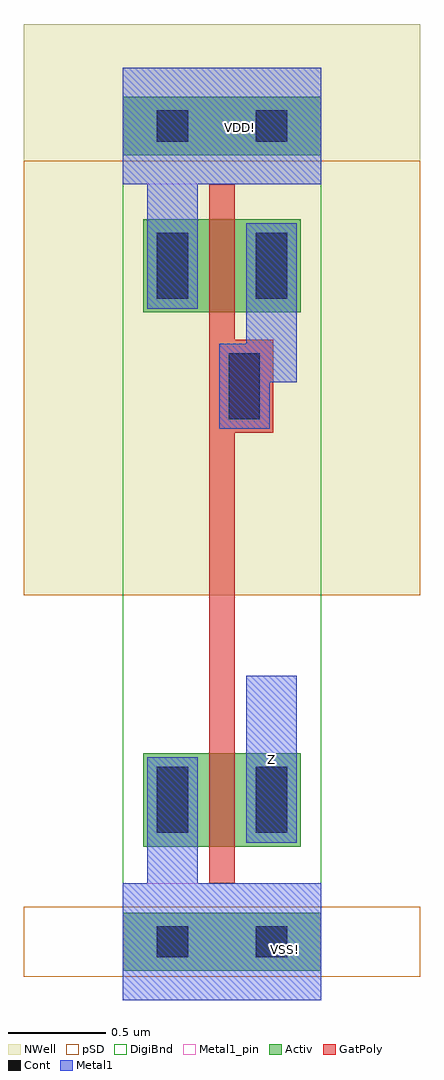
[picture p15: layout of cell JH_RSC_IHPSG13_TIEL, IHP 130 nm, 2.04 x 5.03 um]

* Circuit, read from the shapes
.subckt JH_RSC_IHPSG13_TIEL VDD! VSS! Z
XM1 Z n1 VSS! VSS! sg13_lv_nmos w=0.48u l=0.13u
XM2 n1 n1 VDD! VDD! sg13_lv_pmos w=0.48u l=0.13u
.ends

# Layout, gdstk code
import gdstk
lib = gdstk.Library(unit=1e-6, precision=1e-09)
def R(c, l, rs):  # rectangles x0, y0, x1, y1
    for r in rs: c.add(gdstk.rectangle(r[:2], r[2:], *l))
def P(c, l, *ps):  # polygons
    for p in ps: c.add(gdstk.Polygon(p, *l))
Activ = (1, 0)
GatPoly = (5, 0)
Cont = (6, 0)
Metal1 = (8, 0)
Metal1_pin = (8, 2)
pSD = (14, 0)
DigiBnd = (16, 0)
NWell = (31, 0)

jh_rsc_ihpsg13_tiel = lib.new_cell('JH_RSC_IHPSG13_TIEL')
R(jh_rsc_ihpsg13_tiel, Activ, [(0,-0.15,1.02,0.15), (0.105,0.49,0.915,0.97), (0.105,3.24,0.915,3.72), (0,4.05,1.02,4.35)])
P(jh_rsc_ihpsg13_tiel, GatPoly, [(0.445,0.3),(0.445,3.9),(0.575,3.9),(0.575,3.1),(0.775,3.1),(0.775,2.62),(0.575,2.62),(0.575,0.3)])
R(jh_rsc_ihpsg13_tiel, Cont, [(0.175,-0.08,0.335,0.08), (0.685,-0.08,0.845,0.08), (0.175,0.56,0.335,0.9), (0.685,0.56,0.845,0.9), (0.545,2.69,0.705,3.03), (0.175,3.31,0.335,3.65), (0.685,3.31,0.845,3.65), (0.175,4.12,0.335,4.28), (0.685,4.12,0.845,4.28)])
R(jh_rsc_ihpsg13_tiel, Metal1, [(0.635,0.51,0.895,1.37)])
P(jh_rsc_ihpsg13_tiel, Metal1, [(0.495,2.64),(0.495,3.08),(0.635,3.08),(0.635,3.7),(0.895,3.7),(0.895,2.88),(0.755,2.88),(0.755,2.64)],
  [(0.125,3.26),(0.125,3.9),(0,3.9),(0,4.5),(1.02,4.5),(1.02,3.9),(0.385,3.9),(0.385,3.26)],
  [(0,-0.3),(0,0.3),(0.125,0.3),(0.125,0.95),(0.385,0.95),(0.385,0.3),(1.02,0.3),(1.02,-0.3)])
R(jh_rsc_ihpsg13_tiel, Metal1_pin, [(0,-0.3,1.02,0.3), (0.635,0.51,0.895,1.37), (0,3.9,1.02,4.5)])
R(jh_rsc_ihpsg13_tiel, pSD, [(-0.51,-0.18,1.53,0.18), (-0.51,1.785,1.53,4.02)])
R(jh_rsc_ihpsg13_tiel, DigiBnd, [(0,-0.3,1.02,4.5)])
R(jh_rsc_ihpsg13_tiel, NWell, [(-0.51,1.785,1.53,4.725)])
jh_rsc_ihpsg13_tiel.add(gdstk.Label('VDD!', (0.605,4.19), layer=8, texttype=2))
jh_rsc_ihpsg13_tiel.add(gdstk.Label('VSS!', (0.835,-0.04), layer=8, texttype=2))
jh_rsc_ihpsg13_tiel.add(gdstk.Label('Z', (0.765,0.94), layer=8, texttype=2))

lib.write_gds('JH_RSC_IHPSG13_TIEL.gds')
